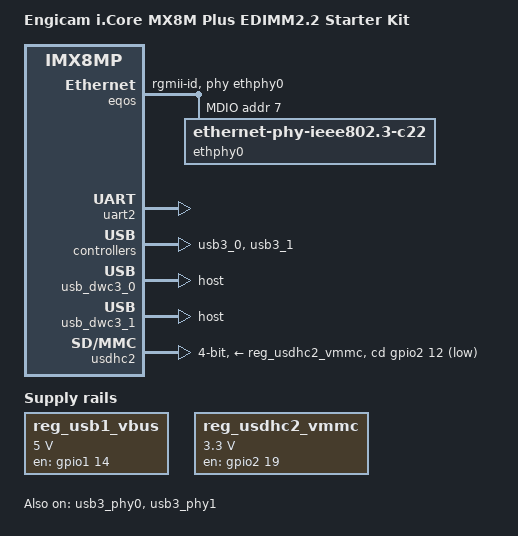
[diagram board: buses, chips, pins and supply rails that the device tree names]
// SPDX-License-Identifier: (GPL-2.0+ OR MIT)
/*
 * Copyright (c) 2018 NXP
 * Copyright (c) 2019 Engicam srl
 * Copyright (c) 2020 Amarula Solutons(India)
 */

/dts-v1/;

#include "imx8mp.dtsi"
#include "imx8mp-icore-mx8mp.dtsi"
#include <dt-bindings/usb/pd.h>

/ {
	model = "Engicam i.Core MX8M Plus EDIMM2.2 Starter Kit";
	compatible = "engicam,icore-mx8mp-edimm2.2", "engicam,icore-mx8mp",
		     "fsl,imx8mp";

	chosen {
		stdout-path = &uart2;
	};

	reg_usb1_vbus: regulator-usb1 {
		compatible = "regulator-fixed";
		enable-active-high;
		gpio = <&gpio1 14 GPIO_ACTIVE_HIGH>;
		pinctrl-names = "default";
		pinctrl-0 = <&pinctrl_reg_usb1>;
		regulator-max-microvolt = <5000000>;
		regulator-min-microvolt = <5000000>;
		regulator-name = "usb1_host_vbus";
	};

	reg_usdhc2_vmmc: regulator-usdhc2 {
		compatible = "regulator-fixed";
		enable-active-high;
		gpio = <&gpio2 19 GPIO_ACTIVE_HIGH>;
		pinctrl-names = "default";
		pinctrl-0 = <&pinctrl_reg_usdhc2_vmmc>;
		regulator-max-microvolt = <3300000>;
		regulator-min-microvolt = <3300000>;
		regulator-name = "VSD_3V3";
	};
};

/* Ethernet */
&eqos {
	pinctrl-names = "default";
	pinctrl-0 = <&pinctrl_eqos>;
	phy-handle = <&ethphy0>;
	phy-mode = "rgmii-id";
	status = "okay";

	mdio {
		compatible = "snps,dwmac-mdio";
		#address-cells = <1>;
		#size-cells = <0>;

		ethphy0: ethernet-phy@7 {
			compatible = "ethernet-phy-ieee802.3-c22";
			micrel,led-mode = <0>;
			reg = <7>;
		};
	};
};

/* console */
&uart2 {
	pinctrl-names = "default";
	pinctrl-0 = <&pinctrl_uart2>;
	status = "okay";
};

&usb3_phy0 {
	status = "okay";
};

&usb3_0 {
	status = "okay";
};

&usb_dwc3_0 {
	dr_mode = "host";
	status = "okay";
};

&usb3_phy1 {
	status = "okay";
};

&usb3_1 {
	status = "okay";
};

&usb_dwc3_1 {
	dr_mode = "host";
	status = "okay";
};

/* SDCARD */
&usdhc2 {
	cd-gpios = <&gpio2 12 GPIO_ACTIVE_LOW>;
	bus-width = <4>;
	pinctrl-names = "default" ;
	pinctrl-0 = <&pinctrl_usdhc2>, <&pinctrl_usdhc2_gpio>;
	vmmc-supply = <&reg_usdhc2_vmmc>;
	status = "okay";
};

&iomuxc {
	pinctrl_eqos: eqosgrp {
		fsl,pins = <
			MX8MP_IOMUXC_ENET_MDC__ENET_QOS_MDC				0x2
			MX8MP_IOMUXC_ENET_MDIO__ENET_QOS_MDIO				0x2
			MX8MP_IOMUXC_ENET_RD0__ENET_QOS_RGMII_RD0			0x90
			MX8MP_IOMUXC_ENET_RD1__ENET_QOS_RGMII_RD1			0x90
			MX8MP_IOMUXC_ENET_RD2__ENET_QOS_RGMII_RD2			0x90
			MX8MP_IOMUXC_ENET_RD3__ENET_QOS_RGMII_RD3			0x90
			MX8MP_IOMUXC_ENET_RXC__CCM_ENET_QOS_CLOCK_GENERATE_RX_CLK	0x90
			MX8MP_IOMUXC_ENET_RX_CTL__ENET_QOS_RGMII_RX_CTL			0x90
			MX8MP_IOMUXC_ENET_TD0__ENET_QOS_RGMII_TD0			0x16
			MX8MP_IOMUXC_ENET_TD1__ENET_QOS_RGMII_TD1			0x16
			MX8MP_IOMUXC_ENET_TD2__ENET_QOS_RGMII_TD2			0x16
			MX8MP_IOMUXC_ENET_TD3__ENET_QOS_RGMII_TD3			0x16
			MX8MP_IOMUXC_ENET_TX_CTL__ENET_QOS_RGMII_TX_CTL			0x16
			MX8MP_IOMUXC_ENET_TXC__CCM_ENET_QOS_CLOCK_GENERATE_TX_CLK	0x16
			MX8MP_IOMUXC_NAND_DATA01__GPIO3_IO07				0x10
		>;
	};

	pinctrl_uart2: uart2grp {
		fsl,pins = <
			MX8MP_IOMUXC_UART2_RXD__UART2_DCE_RX	0x40
			MX8MP_IOMUXC_UART2_TXD__UART2_DCE_TX	0x40
		>;
	};

	pinctrl_uart3: uart3grp {
		fsl,pins = <
			MX8MP_IOMUXC_UART3_RXD__UART3_DCE_RX	0x140
			MX8MP_IOMUXC_UART3_TXD__UART3_DCE_TX	0x140
			MX8MP_IOMUXC_SD1_STROBE__UART3_DCE_CTS	0x140
		>;
	};

	pinctrl_usdhc2: usdhc2grp {
		fsl,pins = <
			MX8MP_IOMUXC_SD2_CLK__USDHC2_CLK	0x190
			MX8MP_IOMUXC_SD2_CMD__USDHC2_CMD	0x1d0
			MX8MP_IOMUXC_SD2_DATA0__USDHC2_DATA0	0x1d0
			MX8MP_IOMUXC_SD2_DATA1__USDHC2_DATA1	0x1d0
			MX8MP_IOMUXC_SD2_DATA2__USDHC2_DATA2	0x1d0
			MX8MP_IOMUXC_SD2_DATA3__USDHC2_DATA3	0x1d0
			MX8MP_IOMUXC_GPIO1_IO04__USDHC2_VSELECT	0xc0
		>;
	};

	pinctrl_usdhc2_gpio: usdhc2gpiogrp {
		fsl,pins = <
			MX8MP_IOMUXC_SD2_CD_B__GPIO2_IO12	0x1c4
		>;
	};

	pinctrl_reg_usb1: regusb1grp {
		fsl,pins = <
			MX8MP_IOMUXC_GPIO1_IO14__GPIO1_IO14	0x10
		>;
	};

	pinctrl_reg_usdhc2_vmmc: regusdhc2vmmcgrp {
		fsl,pins = <
			MX8MP_IOMUXC_SD2_RESET_B__GPIO2_IO19	0x40
		>;
	};
};
